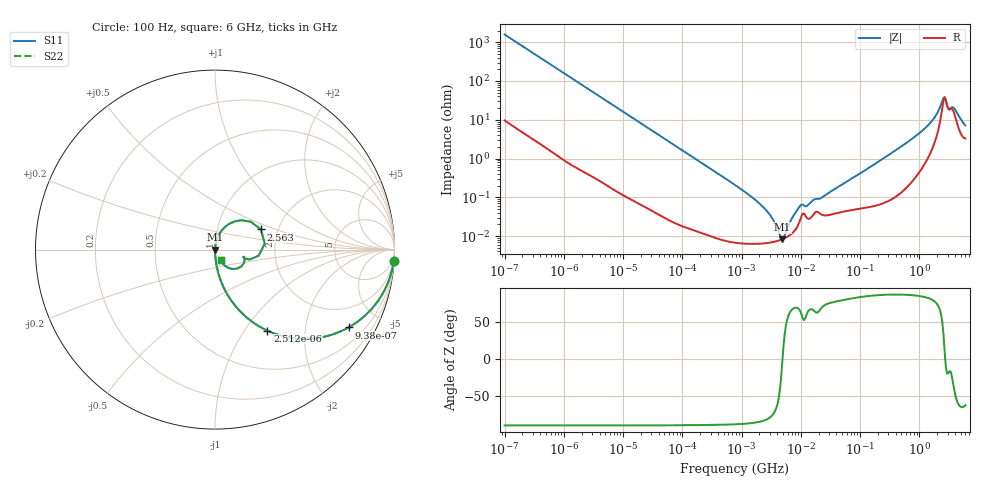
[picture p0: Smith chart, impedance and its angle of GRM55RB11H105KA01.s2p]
!Murata Part Number: GRM55RB11H105KA01
!These Parameters are Measured in Series Mode Connection
!Data Generated on Mar 30, 2021
!  o--ll--o
!Port1  Port2
!  o------o
!Operation Temp=25[degC], DC Bias Voltage=0[V]
!Freq. Start=100[Hz] Stop=6[GHz] 401[Steps]
# Hz S RI R 50
!Freq.(Hz) S11(Real) S11(Imag) S21(Real) S21(Imag) S12(Real) S12(Imag) S22(Real) S22(Imag)
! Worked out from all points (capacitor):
!   401 points, 100 Hz to 6 GHz, reference 50 ohm
!   read as one part in series: C = 999 nF near 109 Hz
!   lowest |Z| = 8.29 mohm at 4.857 MHz (marker M1)
!   series resonance near 4.917 MHz, so ESL is about 1 nH
!   S11 on the Smith chart (normalised r, x): 100 Hz: 1, -32; 938 Hz: 1.02, -3.42; 2.512 kHz: 1.01, -1.28; 2.563 GHz: 1.63, +0.40; 6 GHz: 1.07, -0.13
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100  0.9957 -0.0626  0.00431 0.0626  0.00431 0.0626  0.9957 -0.0626
401  0.9397 -0.2351  0.0603 0.2351  0.0603 0.2351  0.9397 -0.2351
938  0.744 -0.4336  0.256 0.4336  0.256 0.4336  0.744 -0.4336
2008  0.3913 -0.485  0.6087 0.485  0.6087 0.485  0.3913 -0.485
2512  0.2922 -0.4517  0.7078 0.4517  0.7078 0.4517  0.2922 -0.4517
6728  0.0559 -0.2264  0.9441 0.2264  0.9441 0.2264  0.0559 -0.2264
40335  0.00198 -0.0403  0.998 0.0403  0.998 0.0403  0.00198 -0.0403
774597  7.16e-05 -0.00208  0.9999 0.00208  0.9999 0.00208  7.16e-05 -0.00208
2481164  6.53e-05 -0.000499  0.9999 0.000499  0.9999 0.000499  6.53e-05 -0.000499
4856642  8.25e-05 -8.3e-06  0.9999 8.3e-06  0.9999 8.3e-06  8.25e-05 -8.3e-06
5311619  8.77e-05 5.31e-05  0.9999 -5.31e-05  0.9999 -5.31e-05  8.77e-05 5.31e-05
7266822  0.000121 0.000282  0.9999 -0.000282  0.9999 -0.000282  0.000121 0.000282
9506416  0.000234 0.000519  0.9998 -0.000519  0.9998 -0.000519  0.000234 0.000519
1.555665e7  0.000323 0.000739  0.9997 -0.000739  0.9997 -0.000739  0.000323 0.000739
2.327686e7  0.000349 0.000951  0.9997 -0.000951  0.9997 -0.000951  0.000349 0.000951
3.124326e8  0.000984 0.0127  0.999 -0.0127  0.999 -0.0127  0.000984 0.0127
1.251881e9  0.011 0.0591  0.989 -0.0591  0.989 -0.0591  0.011 0.0591
1.95892e9  0.0519 0.1223  0.9481 -0.1223  0.9481 -0.1223  0.0519 0.1223
2.562649e9  0.2555 0.1122  0.7445 -0.1122  0.7445 -0.1122  0.2555 0.1122
3.205649e9  0.1564 -0.0395  0.8436 0.0395  0.8436 0.0395  0.1564 -0.0395
4.009986e9  0.124 -0.1053  0.876 0.1053  0.876 0.1053  0.124 -0.1053
6e9  0.0355 -0.0591  0.9645 0.0591  0.9645 0.0591  0.0355 -0.0591
